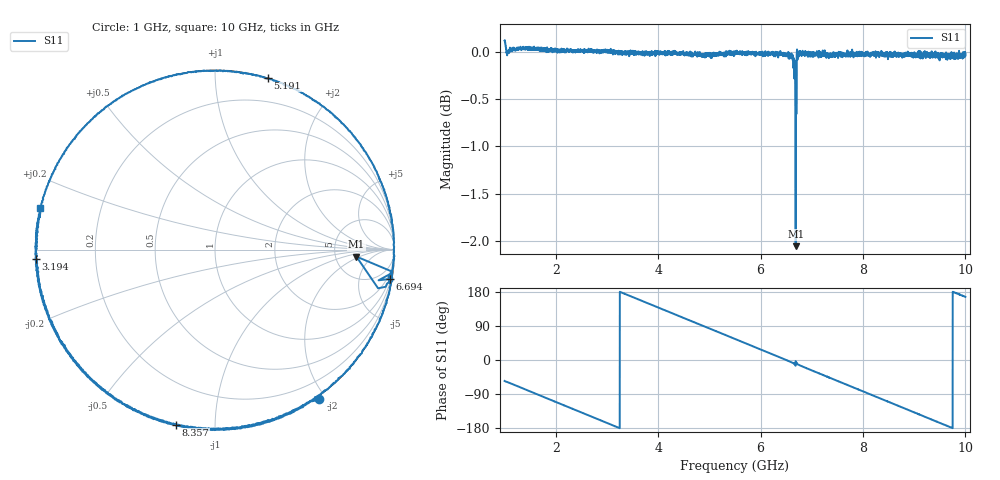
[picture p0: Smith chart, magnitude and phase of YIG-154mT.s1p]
#  HZ  S  RI  R  50.0
! Rohde & Schwarz ZVL13 2Ports - Version 3.31 - 1303.6509k13 SN: 101088
! Date: 2023-03-02 17:00:27
! Data & Calibration Information:
! Trc2:S21(Trans Norm)
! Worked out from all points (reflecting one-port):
!   4000 points, 1 GHz to 10 GHz, reference 50 ohm
!   lowest |S11| = -2.1 dB at 6.685 GHz (marker M1), VSWR 8.48, Z = 406 - j83.8 ohm
!   phase of S11 starts at -55 deg and turns -498 deg over the sweep
!   S11 on the Smith chart (normalised r, x): 1 GHz: -0.03, -1.91; 3.194 GHz: -0.00, -0.03; 5.191 GHz: 0.00, +1.36; 6.694 GHz: 1, -12; 8.357 GHz: 0.00, -0.80; 10 GHz: 0.00, +0.12
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1e9  0.5781 -0.8334
1.578395e9  0.0473 -1.005
1.857464e9  -0.2226 -0.9785
2.125281e9  -0.4643 -0.8861
2.685671e9  -0.8559 -0.5211
3.194299e9  -0.9987 -0.0521
3.250563e9  -0.9973 0.00104
3.513878e9  -0.9688 0.2532
3.786197e9  -0.8691 0.4949
4.375844e9  -0.4638 0.8845
4.767442e9  -0.107 0.9943
5.190548e9  0.2947 0.9553
5.501125e9  0.5671 0.8222
6.090773e9  0.9185 0.3878
6.369842e9  0.9888 0.1278
6.626407e9  0.9823 -0.1274
6.684921e9  0.788 -0.0389
6.693923e9  0.9764 -0.1632
6.860465e9  0.9413 -0.3358
7.180045e9  0.7917 -0.6038
7.751688e9  0.3567 -0.9282
8.060015e9  0.0665 -0.9941
8.357089e9  -0.219 -0.975
8.876969e9  -0.6615 -0.7451
9.178545e9  -0.8446 -0.5282
9.446362e9  -0.955 -0.2943
9.727682e9  -1 -0.0236
1e10  -0.9687 0.2323
